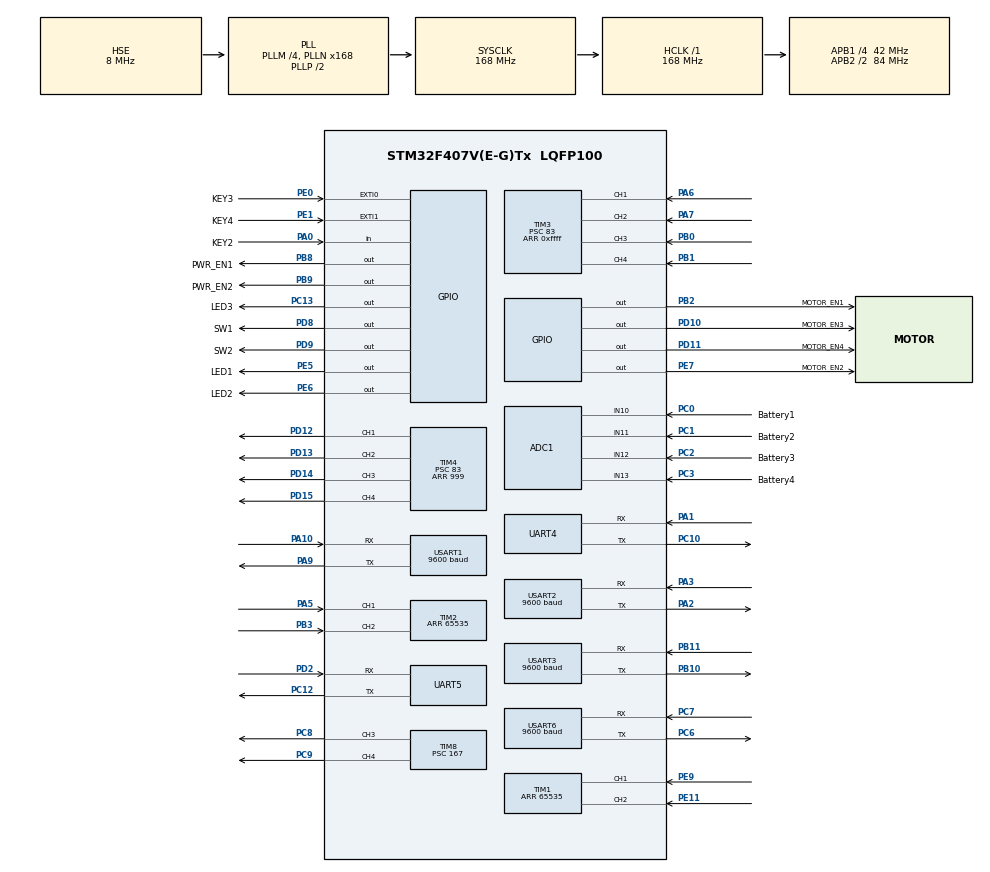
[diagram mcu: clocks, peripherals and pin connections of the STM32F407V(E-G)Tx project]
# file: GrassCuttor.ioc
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ADC1.Channel-0\#ChannelRegularConversion=ADC_CHANNEL_10
ADC1.Channel-1\#ChannelRegularConversion=ADC_CHANNEL_11
ADC1.Channel-2\#ChannelRegularConversion=ADC_CHANNEL_12
ADC1.Channel-3\#ChannelRegularConversion=ADC_CHANNEL_13
ADC1.ContinuousConvMode=ENABLE
ADC1.DMAContinuousRequests=ENABLE
ADC1.NbrOfConversion=4
ADC1.NbrOfConversionFlag=1
ADC1.Rank-0\#ChannelRegularConversion=1
ADC1.Rank-1\#ChannelRegularConversion=2
ADC1.Rank-2\#ChannelRegularConversion=3
ADC1.Rank-3\#ChannelRegularConversion=4
ADC1.SamplingTime-0\#ChannelRegularConversion=ADC_SAMPLETIME_480CYCLES
ADC1.SamplingTime-1\#ChannelRegularConversion=ADC_SAMPLETIME_480CYCLES
ADC1.SamplingTime-2\#ChannelRegularConversion=ADC_SAMPLETIME_480CYCLES
ADC1.SamplingTime-3\#ChannelRegularConversion=ADC_SAMPLETIME_480CYCLES
ADC1.master=1
Dma.ADC1.4.Direction=DMA_PERIPH_TO_MEMORY
Dma.ADC1.4.FIFOMode=DMA_FIFOMODE_DISABLE
Dma.ADC1.4.Instance=DMA2_Stream0
Dma.ADC1.4.MemDataAlignment=DMA_MDATAALIGN_WORD
Dma.ADC1.4.MemInc=DMA_MINC_ENABLE
Dma.ADC1.4.Mode=DMA_CIRCULAR
Dma.ADC1.4.PeriphDataAlignment=DMA_PDATAALIGN_WORD
Dma.ADC1.4.PeriphInc=DMA_PINC_DISABLE
Dma.ADC1.4.Priority=DMA_PRIORITY_LOW
Dma.Request0=USART2_TX
Dma.Request1=USART2_RX
Dma.Request10=UART4_TX
Dma.Request11=UART5_RX
Dma.Request12=UART5_TX
Dma.Request2=USART3_TX
Dma.Request3=USART3_RX
Dma.Request4=ADC1
Dma.Request5=USART1_TX
Dma.Request6=USART1_RX
Dma.Request7=USART6_TX
Dma.Request8=USART6_RX
Dma.Request9=UART4_RX
Dma.UART4_RX.9.Direction=DMA_PERIPH_TO_MEMORY
Dma.UART4_RX.9.FIFOMode=DMA_FIFOMODE_DISABLE
Dma.UART4_RX.9.Instance=DMA1_Stream2
Dma.UART4_RX.9.MemDataAlignment=DMA_MDATAALIGN_BYTE
Dma.UART4_RX.9.MemInc=DMA_MINC_ENABLE
Dma.UART4_RX.9.Mode=DMA_CIRCULAR
Dma.UART4_RX.9.PeriphDataAlignment=DMA_PDATAALIGN_BYTE
Dma.UART4_RX.9.PeriphInc=DMA_PINC_DISABLE
Dma.UART4_RX.9.Priority=DMA_PRIORITY_LOW
Dma.UART4_TX.10.Direction=DMA_MEMORY_TO_PERIPH
Dma.UART4_TX.10.FIFOMode=DMA_FIFOMODE_DISABLE
Dma.UART4_TX.10.Instance=DMA1_Stream4
Dma.UART4_TX.10.MemDataAlignment=DMA_MDATAALIGN_BYTE
Dma.UART4_TX.10.MemInc=DMA_MINC_ENABLE
Dma.UART4_TX.10.Mode=DMA_NORMAL
Dma.UART4_TX.10.PeriphDataAlignment=DMA_PDATAALIGN_BYTE
Dma.UART4_TX.10.PeriphInc=DMA_PINC_DISABLE
Dma.UART4_TX.10.Priority=DMA_PRIORITY_LOW
Dma.UART5_RX.11.Direction=DMA_PERIPH_TO_MEMORY
Dma.UART5_RX.11.FIFOMode=DMA_FIFOMODE_DISABLE
Dma.UART5_RX.11.Instance=DMA1_Stream0
Dma.UART5_RX.11.MemDataAlignment=DMA_MDATAALIGN_BYTE
Dma.UART5_RX.11.MemInc=DMA_MINC_ENABLE
Dma.UART5_RX.11.Mode=DMA_CIRCULAR
Dma.UART5_RX.11.PeriphDataAlignment=DMA_PDATAALIGN_BYTE
Dma.UART5_RX.11.PeriphInc=DMA_PINC_DISABLE
Dma.UART5_RX.11.Priority=DMA_PRIORITY_LOW
Dma.UART5_TX.12.Direction=DMA_MEMORY_TO_PERIPH
Dma.UART5_TX.12.FIFOMode=DMA_FIFOMODE_DISABLE
Dma.UART5_TX.12.Instance=DMA1_Stream7
Dma.UART5_TX.12.MemDataAlignment=DMA_MDATAALIGN_BYTE
Dma.UART5_TX.12.MemInc=DMA_MINC_ENABLE
Dma.UART5_TX.12.Mode=DMA_NORMAL
Dma.UART5_TX.12.PeriphDataAlignment=DMA_PDATAALIGN_BYTE
Dma.UART5_TX.12.PeriphInc=DMA_PINC_DISABLE
Dma.UART5_TX.12.Priority=DMA_PRIORITY_LOW
Dma.USART1_RX.6.Direction=DMA_PERIPH_TO_MEMORY
Dma.USART1_RX.6.FIFOMode=DMA_FIFOMODE_DISABLE
Dma.USART1_RX.6.Instance=DMA2_Stream2
Dma.USART1_RX.6.MemDataAlignment=DMA_MDATAALIGN_BYTE
Dma.USART1_RX.6.MemInc=DMA_MINC_ENABLE
Dma.USART1_RX.6.Mode=DMA_CIRCULAR
Dma.USART1_RX.6.PeriphDataAlignment=DMA_PDATAALIGN_BYTE
Dma.USART1_RX.6.PeriphInc=DMA_PINC_DISABLE
Dma.USART1_RX.6.Priority=DMA_PRIORITY_LOW
Dma.USART1_TX.5.Direction=DMA_MEMORY_TO_PERIPH
Dma.USART1_TX.5.FIFOMode=DMA_FIFOMODE_DISABLE
Dma.USART1_TX.5.Instance=DMA2_Stream7
Dma.USART1_TX.5.MemDataAlignment=DMA_MDATAALIGN_BYTE
Dma.USART1_TX.5.MemInc=DMA_MINC_ENABLE
Dma.USART1_TX.5.Mode=DMA_NORMAL
Dma.USART1_TX.5.PeriphDataAlignment=DMA_PDATAALIGN_BYTE
Dma.USART1_TX.5.PeriphInc=DMA_PINC_DISABLE
Dma.USART1_TX.5.Priority=DMA_PRIORITY_LOW
Dma.USART2_RX.1.Direction=DMA_PERIPH_TO_MEMORY
Dma.USART2_RX.1.FIFOMode=DMA_FIFOMODE_DISABLE
Dma.USART2_RX.1.Instance=DMA1_Stream5
Dma.USART2_RX.1.MemDataAlignment=DMA_MDATAALIGN_BYTE
Dma.USART2_RX.1.MemInc=DMA_MINC_ENABLE
Dma.USART2_RX.1.Mode=DMA_CIRCULAR
Dma.USART2_RX.1.PeriphDataAlignment=DMA_PDATAALIGN_BYTE
Dma.USART2_RX.1.PeriphInc=DMA_PINC_DISABLE
Dma.USART2_RX.1.Priority=DMA_PRIORITY_LOW
Dma.USART2_TX.0.Direction=DMA_MEMORY_TO_PERIPH
Dma.USART2_TX.0.FIFOMode=DMA_FIFOMODE_DISABLE
Dma.USART2_TX.0.Instance=DMA1_Stream6
Dma.USART2_TX.0.MemDataAlignment=DMA_MDATAALIGN_BYTE
Dma.USART2_TX.0.MemInc=DMA_MINC_ENABLE
Dma.USART2_TX.0.Mode=DMA_NORMAL
Dma.USART2_TX.0.PeriphDataAlignment=DMA_PDATAALIGN_BYTE
Dma.USART2_TX.0.PeriphInc=DMA_PINC_DISABLE
Dma.USART2_TX.0.Priority=DMA_PRIORITY_LOW
Dma.USART3_RX.3.Direction=DMA_PERIPH_TO_MEMORY
Dma.USART3_RX.3.FIFOMode=DMA_FIFOMODE_DISABLE
Dma.USART3_RX.3.Instance=DMA1_Stream1
Dma.USART3_RX.3.MemDataAlignment=DMA_MDATAALIGN_BYTE
Dma.USART3_RX.3.MemInc=DMA_MINC_ENABLE
Dma.USART3_RX.3.Mode=DMA_CIRCULAR
Dma.USART3_RX.3.PeriphDataAlignment=DMA_PDATAALIGN_BYTE
Dma.USART3_RX.3.PeriphInc=DMA_PINC_DISABLE
Dma.USART3_RX.3.Priority=DMA_PRIORITY_LOW
Dma.USART3_TX.2.Direction=DMA_MEMORY_TO_PERIPH
Dma.USART3_TX.2.FIFOMode=DMA_FIFOMODE_DISABLE
Dma.USART3_TX.2.Instance=DMA1_Stream3
Dma.USART3_TX.2.MemDataAlignment=DMA_MDATAALIGN_BYTE
Dma.USART3_TX.2.MemInc=DMA_MINC_ENABLE
Dma.USART3_TX.2.Mode=DMA_NORMAL
Dma.USART3_TX.2.PeriphDataAlignment=DMA_PDATAALIGN_BYTE
Dma.USART3_TX.2.PeriphInc=DMA_PINC_DISABLE
Dma.USART3_TX.2.Priority=DMA_PRIORITY_LOW
Dma.USART6_RX.8.Direction=DMA_PERIPH_TO_MEMORY
Dma.USART6_RX.8.FIFOMode=DMA_FIFOMODE_DISABLE
Dma.USART6_RX.8.Instance=DMA2_Stream1
Dma.USART6_RX.8.MemDataAlignment=DMA_MDATAALIGN_BYTE
Dma.USART6_RX.8.MemInc=DMA_MINC_ENABLE
Dma.USART6_RX.8.Mode=DMA_CIRCULAR
Dma.USART6_RX.8.PeriphDataAlignment=DMA_PDATAALIGN_BYTE
Dma.USART6_RX.8.PeriphInc=DMA_PINC_DISABLE
Dma.USART6_RX.8.Priority=DMA_PRIORITY_LOW
Dma.USART6_TX.7.Direction=DMA_MEMORY_TO_PERIPH
Dma.USART6_TX.7.FIFOMode=DMA_FIFOMODE_DISABLE
Dma.USART6_TX.7.Instance=DMA2_Stream6
Dma.USART6_TX.7.MemDataAlignment=DMA_MDATAALIGN_BYTE
Dma.USART6_TX.7.MemInc=DMA_MINC_ENABLE
Dma.USART6_TX.7.Mode=DMA_NORMAL
Dma.USART6_TX.7.PeriphDataAlignment=DMA_PDATAALIGN_BYTE
Dma.USART6_TX.7.PeriphInc=DMA_PINC_DISABLE
Dma.USART6_TX.7.Priority=DMA_PRIORITY_LOW
FREERTOS.INCLUDE_vTaskDelayUntil=1
FREERTOS.Tasks01=ControltTask,0,256,StartDefaultTask,Default,NULL,Dynamic,NULL,NULL;DataLinkTask,-1,256,StartTask02,Default,NULL,Dynamic,NULL,NULL;SenserTask,1,256,StartTask03,Default,NULL,Dynamic,NULL,NULL
Mcu.Family=STM32F4
Mcu.Name=STM32F407V(E-G)Tx
Mcu.Package=LQFP100
NVIC.DMA1_Stream0_IRQn=true\:5\:0\:false\:false\:true\:true\:false\:true
NVIC.DMA1_Stream1_IRQn=true\:5\:0\:false\:false\:true\:true\:true\:false
NVIC.DMA1_Stream2_IRQn=true\:5\:0\:false\:false\:true\:true\:false\:true
NVIC.DMA1_Stream3_IRQn=true\:5\:0\:false\:false\:true\:true\:true\:false
NVIC.DMA1_Stream4_IRQn=true\:5\:0\:false\:false\:true\:true\:false\:true
NVIC.DMA1_Stream5_IRQn=true\:5\:0\:false\:false\:true\:true\:true\:false
NVIC.DMA1_Stream6_IRQn=true\:5\:0\:false\:false\:true\:true\:true\:false
NVIC.DMA1_Stream7_IRQn=true\:5\:0\:false\:false\:true\:true\:false\:true
NVIC.DMA2_Stream0_IRQn=true\:5\:0\:false\:false\:true\:true\:true\:false
NVIC.DMA2_Stream1_IRQn=true\:5\:0\:false\:false\:true\:true\:true\:false
NVIC.DMA2_Stream2_IRQn=true\:5\:0\:false\:false\:true\:true\:true\:false
NVIC.DMA2_Stream6_IRQn=true\:5\:0\:false\:false\:true\:true\:true\:false
NVIC.DMA2_Stream7_IRQn=true\:5\:0\:false\:false\:true\:true\:true\:false
NVIC.EXTI0_IRQn=true\:5\:0\:false\:false\:true\:true\:true\:true
NVIC.EXTI1_IRQn=true\:5\:0\:false\:false\:true\:true\:true\:true
NVIC.PriorityGroup=NVIC_PRIORITYGROUP_4
NVIC.TIM6_DAC_IRQn=true\:0\:0\:false\:false\:true\:false\:false\:false
NVIC.TimeBase=TIM6_DAC_IRQn
NVIC.TimeBaseIP=TIM6
NVIC.UART4_IRQn=true\:5\:0\:false\:false\:true\:true\:true\:true
NVIC.UART5_IRQn=true\:5\:0\:false\:false\:true\:true\:true\:true
NVIC.USART1_IRQn=true\:5\:0\:false\:false\:true\:true\:true\:true
NVIC.USART2_IRQn=true\:5\:0\:false\:false\:true\:true\:true\:true
NVIC.USART3_IRQn=true\:5\:0\:false\:false\:true\:true\:true\:true
NVIC.USART6_IRQn=true\:5\:0\:false\:false\:true\:true\:true\:true
PA0-WKUP.GPIO_Label=KEY2
PA0-WKUP.Signal=GPIO_Input
PA1.Mode=Asynchronous
PA1.Signal=UART4_RX
PA10.Mode=Asynchronous
PA10.Signal=USART1_RX
PA13.Mode=Serial_Wire
PA13.Signal=SYS_JTMS-SWDIO
PA14.Mode=Serial_Wire
PA14.Signal=SYS_JTCK-SWCLK
PA2.Mode=Asynchronous
PA2.Signal=USART2_TX
PA3.Mode=Asynchronous
PA3.Signal=USART2_RX
PA5.Signal=S_TIM2_CH1_ETR
PA6.Signal=S_TIM3_CH1
PA7.Signal=S_TIM3_CH2
PA9.Mode=Asynchronous
PA9.Signal=USART1_TX
PB0.Signal=S_TIM3_CH3
PB1.Signal=S_TIM3_CH4
PB10.Mode=Asynchronous
PB10.Signal=USART3_TX
PB11.Mode=Asynchronous
PB11.Signal=USART3_RX
PB2.GPIO_Label=MOTOR_EN1
PB2.GPIO_PuPd=GPIO_PULLDOWN
PB2.PinState=GPIO_PIN_SET
PB2.Signal=GPIO_Output
PB3.Signal=S_TIM2_CH2
PB8.GPIO_Label=PWR_EN1
PB8.PinState=GPIO_PIN_SET
PB8.Signal=GPIO_Output
PB9.GPIO_Label=PWR_EN2
PB9.PinState=GPIO_PIN_SET
PB9.Signal=GPIO_Output
PC0.GPIO_Label=Battery1
PC0.Signal=ADCx_IN10
PC1.GPIO_Label=Battery2
PC1.Signal=ADCx_IN11
PC10.Mode=Asynchronous
PC10.Signal=UART4_TX
PC12.Mode=Asynchronous
PC12.Signal=UART5_TX
PC13-ANTI_TAMP.GPIO_Label=LED3
PC13-ANTI_TAMP.Signal=GPIO_Output
PC14-OSC32_IN.Mode=LSE-External-Oscillator
PC14-OSC32_IN.Signal=RCC_OSC32_IN
PC15-OSC32_OUT.Mode=LSE-External-Oscillator
PC15-OSC32_OUT.Signal=RCC_OSC32_OUT
PC2.GPIO_Label=Battery3
PC2.Signal=ADCx_IN12
PC3.GPIO_Label=Battery4
PC3.Signal=ADCx_IN13
PC6.Mode=Asynchronous
PC6.Signal=USART6_TX
PC7.Mode=Asynchronous
PC7.Signal=USART6_RX
PC8.Signal=S_TIM8_CH3
PC9.Signal=S_TIM8_CH4
PD10.GPIO_Label=MOTOR_EN3
PD10.PinState=GPIO_PIN_SET
PD10.Signal=GPIO_Output
PD11.GPIO_Label=MOTOR_EN4
PD11.PinState=GPIO_PIN_SET
PD11.Signal=GPIO_Output
PD12.Signal=S_TIM4_CH1
PD13.Signal=S_TIM4_CH2
PD14.Signal=S_TIM4_CH3
PD15.Signal=S_TIM4_CH4
PD2.Mode=Asynchronous
PD2.Signal=UART5_RX
PD8.GPIO_Label=SW1
PD8.GPIO_PuPd=GPIO_PULLDOWN
PD8.Signal=GPIO_Output
PD9.GPIO_Label=SW2
PD9.GPIO_PuPd=GPIO_PULLDOWN
PD9.Signal=GPIO_Output
PE0.GPIO_Label=KEY3
PE0.GPIO_PuPd=GPIO_PULLUP
PE0.Signal=GPXTI0
PE1.GPIO_Label=KEY4
PE1.GPIO_PuPd=GPIO_PULLUP
PE1.Signal=GPXTI1
PE11.Signal=S_TIM1_CH2
PE5.GPIO_Label=LED1
PE5.GPIO_PuPd=GPIO_PULLUP
PE5.Signal=GPIO_Output
PE6.GPIO_Label=LED2
PE6.GPIO_PuPd=GPIO_PULLUP
PE6.Signal=GPIO_Output
PE7.GPIO_Label=MOTOR_EN2
PE7.GPIO_PuPd=GPIO_PULLUP
PE7.PinState=GPIO_PIN_SET
PE7.Signal=GPIO_Output
PE9.Signal=S_TIM1_CH1
PH0-OSC_IN.Mode=HSE-External-Oscillator
PH0-OSC_IN.Signal=RCC_OSC_IN
PH1-OSC_OUT.Mode=HSE-External-Oscillator
PH1-OSC_OUT.Signal=RCC_OSC_OUT
ProjectManager.HeapSize=0x2000
ProjectManager.StackSize=0x4000
ProjectManager.TargetToolchain=MDK-ARM V5
RCC.48MHZClocksFreq_Value=48000000
RCC.AHBFreq_Value=168000000
RCC.APB1CLKDivider=RCC_HCLK_DIV4
RCC.APB1Freq_Value=42000000
RCC.APB1TimFreq_Value=84000000
RCC.APB2CLKDivider=RCC_HCLK_DIV2
RCC.APB2Freq_Value=84000000
RCC.APB2TimFreq_Value=168000000
RCC.CortexFreq_Value=168000000
RCC.HCLKFreq_Value=168000000
RCC.HSE_VALUE=8000000
RCC.HSI_VALUE=16000000
RCC.PLLM=4
RCC.PLLN=168
RCC.PLLQ=7
RCC.PLLSourceVirtual=RCC_PLLSOURCE_HSE
RCC.SYSCLKFreq_VALUE=168000000
RCC.SYSCLKSource=RCC_SYSCLKSOURCE_PLLCLK
RCC.VCOOutputFreq_Value=336000000
SH.ADCx_IN10.0=ADC1_IN10,IN10
SH.ADCx_IN11.0=ADC1_IN11,IN11
SH.ADCx_IN12.0=ADC1_IN12,IN12
SH.ADCx_IN13.0=ADC1_IN13,IN13
SH.S_TIM1_CH1.0=TIM1_CH1,Encoder_Interface
SH.S_TIM1_CH2.0=TIM1_CH2,Encoder_Interface
SH.S_TIM2_CH1_ETR.0=TIM2_CH1,Encoder_Interface
SH.S_TIM2_CH2.0=TIM2_CH2,Encoder_Interface
SH.S_TIM3_CH1.0=TIM3_CH1,Input_Capture1_from_TI1
SH.S_TIM3_CH2.0=TIM3_CH2,Input_Capture2_from_TI2
SH.S_TIM3_CH3.0=TIM3_CH3,Input_Capture3_from_TI3
SH.S_TIM3_CH4.0=TIM3_CH4,Input_Capture4_from_TI4
SH.S_TIM4_CH1.0=TIM4_CH1,PWM Generation1 CH1
SH.S_TIM4_CH2.0=TIM4_CH2,PWM Generation2 CH2
SH.S_TIM4_CH3.0=TIM4_CH3,PWM Generation3 CH3
SH.S_TIM4_CH4.0=TIM4_CH4,PWM Generation4 CH4
SH.S_TIM8_CH3.0=TIM8_CH3,PWM Generation3 CH3
SH.S_TIM8_CH4.0=TIM8_CH4,PWM Generation4 CH4
TIM1.EncoderMode=TIM_ENCODERMODE_TI12
TIM1.Period=65535
TIM2.EncoderMode=TIM_ENCODERMODE_TI12
TIM2.Period=65535
TIM3.Channel-Input_Capture1_from_TI1=TIM_CHANNEL_1
TIM3.Channel-Input_Capture2_from_TI2=TIM_CHANNEL_2
TIM3.Channel-Input_Capture3_from_TI3=TIM_CHANNEL_3
TIM3.Channel-Input_Capture4_from_TI4=TIM_CHANNEL_4
TIM3.Period=0xffff
TIM3.Prescaler=83
TIM4.Channel-PWM\ Generation1\ CH1=TIM_CHANNEL_1
TIM4.Channel-PWM\ Generation2\ CH2=TIM_CHANNEL_2
TIM4.Channel-PWM\ Generation3\ CH3=TIM_CHANNEL_3
TIM4.Channel-PWM\ Generation4\ CH4=TIM_CHANNEL_4
TIM4.Period=999
TIM4.Prescaler=83
TIM8.Channel-PWM\ Generation3\ CH3=TIM_CHANNEL_3
TIM8.Channel-PWM\ Generation4\ CH4=TIM_CHANNEL_4
TIM8.Period=999
TIM8.Prescaler=167
UART4.VirtualMode=Asynchronous
UART5.VirtualMode=Asynchronous
USART1.BaudRate=9600
USART1.VirtualMode=VM_ASYNC
USART2.BaudRate=9600
USART2.VirtualMode=VM_ASYNC
USART3.BaudRate=9600
USART3.VirtualMode=VM_ASYNC
USART6.BaudRate=9600
USART6.VirtualMode=VM_ASYNC
VP_FREERTOS_VS_CMSIS_V1.Mode=CMSIS_V1
VP_SYS_VS_tim6.Mode=TIM6
board=GrassCuttor

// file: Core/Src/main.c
/* USER CODE BEGIN Header */
/**
  ******************************************************************************
  * @file           : main.c
  * @brief          : Main program body
  ******************************************************************************
  * @attention
  *
  * <h2><center>&copy; Copyright (c) 2019 STMicroelectronics.
  * All rights reserved.</center></h2>
  *
  * This software component is licensed by ST under Ultimate Liberty license
  * SLA0044, the "License"; You may not use this file except in compliance with
  * the License. You may obtain a copy of the License at:
  *                             www.st.com/SLA0044
  *
  ******************************************************************************
  */
/* USER CODE END Header */

#include "main.h"
#include "cmsis_os.h"
#include "adc.h"
#include "dma.h"
#include "tim.h"
#include "usart.h"
#include "gpio.h"

/* USER CODE BEGIN Includes */
#include "led.h"
#include "motor.h"
#include "speed.h"
/* USER CODE END Includes */

/* USER CODE BEGIN PV */
/* Private variables ---------------------------------------------------------*/

/* USER CODE END PV */

void SystemClock_Config(void);
void MX_FREERTOS_Init(void);
/* USER CODE BEGIN PFP */
/* Private function prototypes -----------------------------------------------*/

/* USER CODE END PFP */

int main(void)
{

  /* MCU Configuration--------------------------------------------------------*/

  /* Reset of all peripherals, Initializes the Flash interface and the Systick. */
  HAL_Init();

  /* Configure the system clock */
  SystemClock_Config();

  /* Initialize all configured peripherals */
  MX_GPIO_Init();
  MX_DMA_Init();
  MX_USART1_UART_Init();
  MX_USART2_UART_Init();
  MX_UART4_Init();
  MX_UART5_Init();
  MX_USART3_UART_Init();
  MX_TIM1_Init();
  MX_TIM3_Init();
  MX_TIM4_Init();
  MX_USART6_UART_Init();
  MX_TIM8_Init();
  MX_TIM2_Init();
  MX_ADC1_Init();

  /* Call init function for freertos objects (in freertos.c) */
  MX_FREERTOS_Init();

  /* Start scheduler */
  osKernelStart();

  /* We should never get here as control is now taken by the scheduler */

  /* Infinite loop */
  while (1)
  {

  }
}

void SystemClock_Config(void)
{
  RCC_OscInitTypeDef RCC_OscInitStruct = {0};
  RCC_ClkInitTypeDef RCC_ClkInitStruct = {0};

  /** Configure the main internal regulator output voltage
  */
  __HAL_RCC_PWR_CLK_ENABLE();
  __HAL_PWR_VOLTAGESCALING_CONFIG(PWR_REGULATOR_VOLTAGE_SCALE1);
  /** Initializes the CPU, AHB and APB busses clocks
  */
  RCC_OscInitStruct.OscillatorType = RCC_OSCILLATORTYPE_HSE;
  RCC_OscInitStruct.HSEState = RCC_HSE_ON;
  RCC_OscInitStruct.PLL.PLLState = RCC_PLL_ON;
  RCC_OscInitStruct.PLL.PLLSource = RCC_PLLSOURCE_HSE;
  RCC_OscInitStruct.PLL.PLLM = 4;
  RCC_OscInitStruct.PLL.PLLN = 168;
  RCC_OscInitStruct.PLL.PLLP = RCC_PLLP_DIV2;
  RCC_OscInitStruct.PLL.PLLQ = 7;
  if (HAL_RCC_OscConfig(&RCC_OscInitStruct) != HAL_OK)
  {
    Error_Handler();
  }
  /** Initializes the CPU, AHB and APB busses clocks
  */
  RCC_ClkInitStruct.ClockType = RCC_CLOCKTYPE_HCLK|RCC_CLOCKTYPE_SYSCLK
                              |RCC_CLOCKTYPE_PCLK1|RCC_CLOCKTYPE_PCLK2;
  RCC_ClkInitStruct.SYSCLKSource = RCC_SYSCLKSOURCE_PLLCLK;
  RCC_ClkInitStruct.AHBCLKDivider = RCC_SYSCLK_DIV1;
  RCC_ClkInitStruct.APB1CLKDivider = RCC_HCLK_DIV4;
  RCC_ClkInitStruct.APB2CLKDivider = RCC_HCLK_DIV2;

  if (HAL_RCC_ClockConfig(&RCC_ClkInitStruct, FLASH_LATENCY_5) != HAL_OK)
  {
    Error_Handler();
  }
}

void HAL_TIM_PeriodElapsedCallback(TIM_HandleTypeDef *htim)
{
  if (htim->Instance == TIM6) {
    HAL_IncTick();
  }
}

void Error_Handler(void)
{
  /* USER CODE BEGIN Error_Handler_Debug */
  /* User can add his own implementation to report the HAL error return state */
  while(1)
  {

		 LED_OFF(1);
		 LED_ON(2);
		 LED_OFF(3);
  }
  /* USER CODE END Error_Handler_Debug */
}

/************************ (C) COPYRIGHT STMicroelectronics *****END OF FILE****/

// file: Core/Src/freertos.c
/* USER CODE BEGIN Header */
/**
  ******************************************************************************
  * File Name          : freertos.c
  * Description        : Code for freertos applications
  ******************************************************************************
  * This notice applies to any and all portions of this file
  * that are not between comment pairs USER CODE BEGIN and
  * USER CODE END. Other portions of this file, whether
  * inserted by the user or by software development tools
  * are owned by their respective copyright owners.
  *
  * Copyright (c) 2018 STMicroelectronics International N.V.
  * All rights reserved.
  *
  * Redistribution and use in source and binary forms, with or without
  * modification, are permitted, provided that the following conditions are met:
  *
  * 1. Redistribution of source code must retain the above copyright notice,
  *    this list of conditions and the following disclaimer.
  * 2. Redistributions in binary form must reproduce the above copyright notice,
  *    this list of conditions and the following disclaimer in the documentation
  *    and/or other materials provided with the distribution.
  * 3. Neither the name of STMicroelectronics nor the names of other
  *    contributors to this software may be used to endorse or promote products
  *    derived from this software without specific written permission.
  * 4. This software, including modifications and/or derivative works of this
  *    software, must execute solely and exclusively on microcontroller or
  *    microprocessor devices manufactured by or for STMicroelectronics.
  * 5. Redistribution and use of this software other than as permitted under
  *    this license is void and will automatically terminate your rights under
  *    this license.
  *
  * THIS SOFTWARE IS PROVIDED BY STMICROELECTRONICS AND CONTRIBUTORS "AS IS"
  * AND ANY EXPRESS, IMPLIED OR STATUTORY WARRANTIES, INCLUDING, BUT NOT
  * LIMITED TO, THE IMPLIED WARRANTIES OF MERCHANTABILITY, FITNESS FOR A
  * PARTICULAR PURPOSE AND NON-INFRINGEMENT OF THIRD PARTY INTELLECTUAL PROPERTY
  * RIGHTS ARE DISCLAIMED TO THE FULLEST EXTENT PERMITTED BY LAW. IN NO EVENT
  * SHALL STMICROELECTRONICS OR CONTRIBUTORS BE LIABLE FOR ANY DIRECT, INDIRECT,
  * INCIDENTAL, SPECIAL, EXEMPLARY, OR CONSEQUENTIAL DAMAGES (INCLUDING, BUT NOT
  * LIMITED TO, PROCUREMENT OF SUBSTITUTE GOODS OR SERVICES; LOSS OF USE, DATA,
  * OR PROFITS; OR BUSINESS INTERRUPTION) HOWEVER CAUSED AND ON ANY THEORY OF
  * LIABILITY, WHETHER IN CONTRACT, STRICT LIABILITY, OR TORT (INCLUDING
  * NEGLIGENCE OR OTHERWISE) ARISING IN ANY WAY OUT OF THE USE OF THIS SOFTWARE,
  * EVEN IF ADVISED OF THE POSSIBILITY OF SUCH DAMAGE.
  *
  ******************************************************************************
  */
/* USER CODE END Header */

#include "FreeRTOS.h"
#include "task.h"
#include "main.h"
#include "cmsis_os.h"

/* USER CODE BEGIN Includes */
#include "led.h"
#include "motor.h"
#include "tim.h"
#include "adc.h"
#include "ublox.h"
#include "uart.h"
#include "ultrasonic.h"

#include "control.h"

#include "stm32f4xx_hal.h"
#include "dma.h"
#include "usart.h"
#include "gpio.h"

#include "protocol.h"

#include "mymath.h"

#include "flash.h"
#include "speed.h"
#include "uart_fifo.h"
#include "gy952.h"
/* USER CODE END Includes */

/* USER CODE BEGIN Variables */
UART_RX_FIFO_t sonar1_rx;
UART_TX_FIFO_t sonar1_tx;
UART_RX_FIFO_t sonar2_rx;
UART_TX_FIFO_t sonar2_tx;
UART_RX_FIFO_t sonar3_rx;
UART_TX_FIFO_t sonar3_tx;
UART_RX_FIFO_t imu_rx;
UART_TX_FIFO_t imu_tx;
UART_RX_FIFO_t dlink_rx;
UART_TX_FIFO_t dlink_tx;
UART_RX_FIFO_t gps_rx;
UART_TX_FIFO_t gps_tx;

/* USER CODE END Variables */
osThreadId ControltTaskHandle;
osThreadId DataLinkTaskHandle;
osThreadId SenserTaskHandle;

void StartDefaultTask(void const * argument);
void StartTask02(void const * argument);
void StartTask03(void const * argument);

void MX_FREERTOS_Init(void); /* (MISRA C 2004 rule 8.1) */

void MX_FREERTOS_Init(void) {
  /* USER CODE BEGIN Init */
  uint32_t Bat[4];

	//电池电压测量读取调用
	HAL_ADC_Start_DMA(&hadc1,Bat,sizeof(Bat));

  //PWM初始化
	HAL_TIM_IC_Start(&htim1,TIM_CHANNEL_1);
	HAL_TIM_IC_Start(&htim1,TIM_CHANNEL_2);
	HAL_TIM_IC_Start(&htim1,TIM_CHANNEL_3);
	HAL_TIM_IC_Start(&htim1,TIM_CHANNEL_4);

	HAL_TIM_IC_Start(&htim3,TIM_CHANNEL_1);
	HAL_TIM_IC_Start(&htim3,TIM_CHANNEL_2);
	HAL_TIM_IC_Start(&htim3,TIM_CHANNEL_3);
	HAL_TIM_IC_Start(&htim3,TIM_CHANNEL_4);

	HAL_TIM_PWM_Start(&htim2,TIM_CHANNEL_1);
	HAL_TIM_PWM_Start(&htim2,TIM_CHANNEL_2);

	HAL_TIM_PWM_Start(&htim4,TIM_CHANNEL_1);
	HAL_TIM_PWM_Start(&htim4,TIM_CHANNEL_2);
	HAL_TIM_PWM_Start(&htim4,TIM_CHANNEL_3);
	HAL_TIM_PWM_Start(&htim4,TIM_CHANNEL_4);

	HAL_TIM_PWM_Start(&htim8,TIM_CHANNEL_3);
	HAL_TIM_PWM_Start(&htim8,TIM_CHANNEL_4);

	//fifo
	UART_RX_FIFO_open(&sonar1_rx,&huart5,100,UART_FIFO_DMA);
	UART_TX_FIFO_open(&sonar1_tx,&huart5,100,UART_FIFO_DMA);
	UART_RX_FIFO_open(&sonar2_rx,&huart2,100,UART_FIFO_DMA);
	UART_TX_FIFO_open(&sonar2_tx,&huart2,100,UART_FIFO_DMA);
	UART_RX_FIFO_open(&sonar3_rx,&huart3,100,UART_FIFO_DMA);
	UART_TX_FIFO_open(&sonar3_tx,&huart3,100,UART_FIFO_DMA);

	UART_RX_FIFO_open(&imu_rx,&huart4,512,UART_FIFO_DMA);
	UART_TX_FIFO_open(&imu_tx,&huart4,128,UART_FIFO_DMA);

	UART_RX_FIFO_open(&dlink_rx,&huart1,512,UART_FIFO_DMA);
	UART_TX_FIFO_open(&dlink_tx,&huart1,512,UART_FIFO_DMA);

	UART_RX_FIFO_open(&gps_rx,&huart6,512,UART_FIFO_DMA);
	UART_TX_FIFO_open(&gps_tx,&huart6,100,UART_FIFO_DMA);

	//初始化陀螺
	GY952_Init();
	//初始化gps
	ubloxInit();

  /* USER CODE END Init */

  /* Create the thread(s) */
  /* definition and creation of ControltTask */
  osThreadDef(ControltTask, StartDefaultTask, osPriorityNormal, 0, 256);
  ControltTaskHandle = osThreadCreate(osThread(ControltTask), NULL);

  /* definition and creation of DataLinkTask */
  osThreadDef(DataLinkTask, StartTask02, osPriorityBelowNormal, 0, 256);
  DataLinkTaskHandle = osThreadCreate(osThread(DataLinkTask), NULL);

  /* definition and creation of SenserTask */
  osThreadDef(SenserTask, StartTask03, osPriorityAboveNormal, 0, 256);
  SenserTaskHandle = osThreadCreate(osThread(SenserTask), NULL);

}

void StartDefaultTask(void const * argument)
{

  /* USER CODE BEGIN StartDefaultTask */

	Parameter_R_PID();//读取参数

  /* Infinite loop */
  for(;;)
  {
    osDelay(10);//10ms
		//LED_Toggle(0);

		//当前动作运行完成后，开始切换任务，让其他任务得以运行
		//数传发送
    Protocol_T_Parameter();
		Protocol_T_WayPoint();
		Protocol_T_Status(10);
	  Protocol_T_GPS(10);
		Protocol_T_Par(10);
		//数传解码
		Protocol_Rev();

		//保存数据
		if(Control.Parameter.isSaveParameter == 0x01)
		{
			 Control.Parameter.isSaveParameter = 0;
			 Flash_EraseSectors();//写之前擦除
			 Parameter_S_PID();
		}

		//超声波解码

		//IMU解码
		GY952_Rev();
		//GPS解码
		ublox_Rev();

		//GPS速度是0.2m/s以上，就开始使用GPS的航向角和角速度进行融合，这样得出一个角度，即使GPS没有更新，那也会有角度值
		if(Control.Senser.GPS.speed >= 0.2f)
		{
			 if(Control.Senser.GPS.isGPSUpdate == 1)
			 {
				  Control.Senser.IMU.yaw = Control.Senser.GPS.course + Control.Senser.IMU.gz * 0.01f;
			 }
			 else
			 {
				  Control.Senser.IMU.yaw += Control.Senser.IMU.gz * 0.01f;
				  if(Control.Senser.IMU.yaw >= 360) Control.Senser.IMU.yaw -= 360;
				  else if(Control.Senser.IMU.yaw < 0) Control.Senser.IMU.yaw += 360;
			 }
		}
		else
		{
			 Control.Senser.IMU.yaw += Control.Senser.IMU.gz * 0.01f;
			 if(Control.Senser.IMU.yaw >= 360) Control.Senser.IMU.yaw -= 360;
			 else if(Control.Senser.IMU.yaw < 0) Control.Senser.IMU.yaw += 360;
		}

		osThreadYield();
  }
  /* USER CODE END StartDefaultTask */
}

void StartTask02(void const * argument)
{
  /* USER CODE BEGIN StartTask02 */

	uint8_t DelayTime = 2;
	uint32_t PreviousWakeTime;

	Control.Senser.Voltage.Battery1.Max = 8.4f;
	Control.Senser.Voltage.Battery1.Min = 7.0f;
	Control.Senser.Voltage.Battery1.Battery = 8.0f;

	Control.Senser.Voltage.Battery2.Max = 8.4f;
	Control.Senser.Voltage.Battery2.Min = 7.0f;
	Control.Senser.Voltage.Battery2.Battery = 8.0f;

	Control.Senser.Voltage.Battery3.Max = 8.4f;
	Control.Senser.Voltage.Battery3.Min = 7.0f;
	Control.Senser.Voltage.Battery3.Battery = 8.0f;

	Control.Senser.Voltage.Battery4.Max = 8.4f;
	Control.Senser.Voltage.Battery4.Min = 7.0f;
	Control.Senser.Voltage.Battery4.Battery = 8.0f;

	HAL_IO.Satuts.voltage1 = Control.Senser.Voltage.Battery1.Battery;
	HAL_IO.Satuts.voltage2 = Control.Senser.Voltage.Battery2.Battery;
	HAL_IO.Satuts.voltage3 = Control.Senser.Voltage.Battery3.Battery;
	HAL_IO.Satuts.voltage4 = Control.Senser.Voltage.Battery4.Battery;

	MOTOR_PWR_EN();
	MOTOR_EN(0,0x01);//使能是0x01,

	HAL_TIM_Encoder_Start(&htim1,TIM_CHANNEL_ALL);//开启TIM1编码器
	HAL_TIM_Encoder_Start(&htim2,TIM_CHANNEL_ALL);//开启TIM2编码器

	Control.Car.BaisThrottle = 0;//设定基本油门

  /* Infinite loop */
  for(;;)
  {
    osDelay(20);//50hz

		Control_TaskManage(0.02f,Control.Task.Task_id);

		SPEED_CAL();//转速计算

		//HAL_IO.Satuts.currentwaypoint++;

		if(Control.Command.EmergencyStop == 0x6d)//进入紧急停止模式
		{
			Control.Task.Task_id = 0;//清除任务ID
			Control.Car.isunLock = 0x00;//机器上锁
		}

		if(Control.Car.isunLock == 0x57)
		{
			if((Control.Task.SpeedOutPut - Control.Task.HeadingOutPut)>0)
			{
				//TIM2->CCR1 = LIMIT(Control.Task.SpeedOutPut - Control.Task.HeadingOutPut,0,1000);//左后 1>2正向
				//TIM2->CCR2 = 0;//左后 1<2反向
			}
			else
			{
				//TIM2->CCR1 = 0;//左后 1>2正向
				//TIM2->CCR2 = LIMIT(-(Control.Task.SpeedOutPut - Control.Task.HeadingOutPut),0,1000);//左后 1<2反向
			}

			TIM4->CCR1 = 0;//右前 1>2正向
			TIM4->CCR2 = 0;//右前 1<2反向

			TIM4->CCR3 = 0;//左前 3>4正向
			TIM4->CCR4 = 0;//左前 3<4反向

			if((Control.Task.SpeedOutPut + Control.Task.HeadingOutPut)>0)
			{
				TIM8->CCR3 = LIMIT(Control.Task.SpeedOutPut + Control.Task.HeadingOutPut,0,1000);//右后 3>4正向
				TIM8->CCR4 = 0;//右后 3<4反向
			}
			else
			{
				TIM8->CCR3 = 0;//右后 3>4正向
				TIM8->CCR4 = LIMIT(-(Control.Task.SpeedOutPut + Control.Task.HeadingOutPut),0,1000);//右后 3<4反向
			}

		}
		else
		{

			switch(Control.Car.WheelTest)
			{
				case 0x00:
								TIM2->CCR1 = 0;//左后 1>2正向
								TIM2->CCR2 = 0;//左后 1<2反向

								TIM4->CCR1 = 0;//右前 1>2正向
								TIM4->CCR2 = 0;//右前 1<2反向

								TIM4->CCR3 = 0;//左前 3>4正向
								TIM4->CCR4 = 0;//左前 3<4反向

								TIM8->CCR3 = 0;//右后 3>4正向
								TIM8->CCR4 = 0;//右后 3<4反向
				break;
				case 0x01:
					      TIM2->CCR1 = 0;//左后 1>2正向
								TIM2->CCR2 = 0;//左后 1<2反向

								TIM4->CCR1 = 0;//右前 1>2正向
								TIM4->CCR2 = 0;//右前 1<2反向

								TIM4->CCR3 = 500;//左前 3>4正向
								TIM4->CCR4 = 0;//左前 3<4反向

								TIM8->CCR3 = 0;//右后 3>4正向
								TIM8->CCR4 = 0;//右后 3<4反向
				break;
				case 0x10:
					      TIM2->CCR1 = 0;//左后 1>2正向
								TIM2->CCR2 = 0;//左后 1<2反向

								TIM4->CCR1 = 0;//右前 1>2正向
								TIM4->CCR2 = 0;//右前 1<2反向

								TIM4->CCR3 = 0;//左前 3>4正向
								TIM4->CCR4 = 500;//左前 3<4反向

								TIM8->CCR3 = 0;//右后 3>4正向
								TIM8->CCR4 = 0;//右后 3<4反向
				break;
				case 0x02:
					      TIM2->CCR1 = 500;//左后 1>2正向
								TIM2->CCR2 = 0;//左后 1<2反向

								TIM4->CCR1 = 0;//右前 1>2正向
								TIM4->CCR2 = 0;//右前 1<2反向

								TIM4->CCR3 = 0;//左前 3>4正向
								TIM4->CCR4 = 0;//左前 3<4反向

								TIM8->CCR3 = 0;//右后 3>4正向
								TIM8->CCR4 = 0;//右后 3<4反向
				break;
				case 0x20:
					      TIM2->CCR1 = 0;//左后 1>2正向
								TIM2->CCR2 = 500;//左后 1<2反向

								TIM4->CCR1 = 0;//右前 1>2正向
								TIM4->CCR2 = 0;//右前 1<2反向

								TIM4->CCR3 = 0;//左前 3>4正向
								TIM4->CCR4 = 0;//左前 3<4反向

								TIM8->CCR3 = 0;//右后 3>4正向
								TIM8->CCR4 = 0;//右后 3<4反向
				break;
				case 0x04:
					      TIM2->CCR1 = 0;//左后 1>2正向
								TIM2->CCR2 = 0;//左后 1<2反向

								TIM4->CCR1 = 500;//右前 1>2正向
								TIM4->CCR2 = 0;//右前 1<2反向

								TIM4->CCR3 = 0;//左前 3>4正向
								TIM4->CCR4 = 0;//左前 3<4反向

								TIM8->CCR3 = 0;//右后 3>4正向
								TIM8->CCR4 = 0;//右后 3<4反向
				break;
				case 0x40:
					      TIM2->CCR1 = 0;//左后 1>2正向
								TIM2->CCR2 = 0;//左后 1<2反向

								TIM4->CCR1 = 0;//右前 1>2正向
								TIM4->CCR2 = 500;//右前 1<2反向

								TIM4->CCR3 = 0;//左前 3>4正向
								TIM4->CCR4 = 0;//左前 3<4反向

								TIM8->CCR3 = 0;//右后 3>4正向
								TIM8->CCR4 = 0;//右后 3<4反向
				break;
				case 0x08:
					      TIM2->CCR1 = 0;//左后 1>2正向
								TIM2->CCR2 = 0;//左后 1<2反向

								TIM4->CCR1 = 0;//右前 1>2正向
								TIM4->CCR2 = 0;//右前 1<2反向

								TIM4->CCR3 = 0;//左前 3>4正向
								TIM4->CCR4 = 0;//左前 3<4反向

								TIM8->CCR3 = 500;//右后 3>4正向
								TIM8->CCR4 = 0;//右后 3<4反向
				break;
				case 0x80:
					      TIM2->CCR1 = 0;//左后 1>2正向
								TIM2->CCR2 = 0;//左后 1<2反向

								TIM4->CCR1 = 0;//右前 1>2正向
								TIM4->CCR2 = 0;//右前 1<2反向

								TIM4->CCR3 = 0;//左前 3>4正向
								TIM4->CCR4 = 0;//左前 3<4反向

								TIM8->CCR3 = 0;//右后 3>4正向
								TIM8->CCR4 = 500;//右后 3<4反向
				break;
			}
		}
			//记录数据
			HAL_IO.Satuts.leftfront_p = TIM4->CCR3;
			HAL_IO.Satuts.leftfront_n = TIM4->CCR4;
			HAL_IO.Satuts.leftback_p  = TIM2->CCR1;
			HAL_IO.Satuts.leftback_n  = TIM2->CCR2;

			HAL_IO.Satuts.rightfront_p = TIM4->CCR1;
			HAL_IO.Satuts.rightfront_n = TIM4->CCR2;
			HAL_IO.Satuts.rightback_p  = TIM8->CCR3;
			HAL_IO.Satuts.rightback_n  = TIM8->CCR4;

		osThreadYield();
  }
  /* USER CODE END StartTask02 */
}

void StartTask03(void const * argument)
{
  /* USER CODE BEGIN StartTask03 */

	uint16_t timecount = 0;
  /* Infinite loop */
  for(;;)
  {
    osDelay(10);
		timecount+=10;
		//读取超声波
		/*
		if((timecount == 250)&&(Control.Senser.Sonar.forward.isUpdated == 0x00))
		   Ultrasonic_ReadFront();
		else if((timecount == 500)&&(Control.Senser.Sonar.left.isUpdated == 0x00))
       Ultrasonic_ReadLeft();
		else if((timecount == 750)&&(Control.Senser.Sonar.right.isUpdated == 0x00))
		{
       Ultrasonic_ReadRight();
			 timecount = 0;
		}
		*/
		//解码超声波
		/*
		if(Control.Senser.Sonar.forward.isUpdated)
		{
			 Control.Senser.Sonar.forward.isUpdated = 0x00;
			 calculate1(Control.Senser.Sonar.forward.rxbuff);
		}

		if(Control.Senser.Sonar.left.isUpdated)
		{
			 Control.Senser.Sonar.left.isUpdated = 0x00;
			 calculate2(Control.Senser.Sonar.left.rxbuff);
		}

		if(Control.Senser.Sonar.right.isUpdated)
		{
			 Control.Senser.Sonar.right.isUpdated = 0x00;
			 calculate3(Control.Senser.Sonar.right.rxbuff);
		}
		*/
		//解析GPS
//		while(Control.Senser.GPS.r_tail != Control.Senser.GPS.r_head)
//		{
//			 ublox_Protocol_Prepare(Control.Senser.GPS.rxbuff[Control.Senser.GPS.r_tail]);
//
//			 Control.Senser.GPS.r_tail++;
//			 if(Control.Senser.GPS.r_tail >= sizeof(Control.Senser.GPS.rxbuff))
//			 {
//				 Control.Senser.GPS.r_tail = 0;
//			 }
//		}

		osThreadYield();
  }
  /* USER CODE END StartTask03 */
}

/************************ (C) COPYRIGHT STMicroelectronics *****END OF FILE****/
